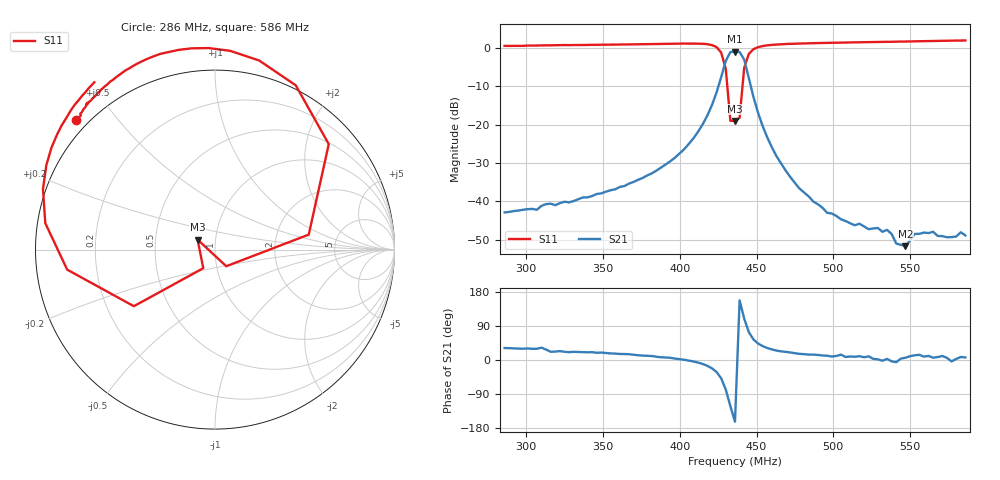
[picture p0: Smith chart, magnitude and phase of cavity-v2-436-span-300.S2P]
!File created by NanoVNA
# Hz S RI R 50
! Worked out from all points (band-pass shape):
!   101 points, 286 MHz to 586 MHz, reference 50 ohm
!   highest |S21| = -1.02 dB at 436 MHz (marker M1); lowest = -51.6 dB at 547 MHz (marker M2)
!   |S21| within 3 dB of the highest: 429.6 MHz to 442.6 MHz (13 MHz wide, 2.98 % of centre)
!   lowest |S11| = -19.0 dB at 436 MHz (marker M3), VSWR 1.25, Z = 40.9 + j4.62 ohm
!   |S11| at or under -10 dB: 431 MHz to 440.9 MHz (9.898 MHz wide, 2.27 % of centre)
!   S12 and S22 are empty: the file has one direction only
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2.86e8  -0.7733 0.7204  0.00613 0.00378  0 0  0 0
3.37e8  -0.6675 0.8558  0.0106 0.00401  0 0  0 0
3.88e8  -0.4569 1.023  0.0276 0.00347  0 0  0 0
4.06e8  -0.2597 1.1  0.0563 -0.00168  0 0  0 0
4.18e8  0.084 1.108  0.1265 -0.0349  0 0  0 0
4.24e8  0.4499 0.9153  0.2226 -0.1381  0 0  0 0
4.27e8  0.6338 0.5877  0.2761 -0.3091  0 0  0 0
4.3e8  0.5224 0.0836  0.1392 -0.6587  0 0  0 0
4.33e8  0.0628 -0.0927  -0.4668 -0.7455  0 0  0 0
4.36e8  -0.097 0.0557  -0.8493 -0.2634  0 0  0 0
4.39e8  -0.0653 -0.1035  -0.8116 0.3378  0 0  0 0
4.42e8  -0.4521 -0.3153  -0.2285 0.663  0 0  0 0
4.45e8  -0.8235 -0.1117  0.1146 0.3862  0 0  0 0
4.48e8  -0.9455 0.1473  0.1336 0.1863  0 0  0 0
4.57e8  -0.9117 0.5661  0.0581 0.0358  0 0  0 0
4.72e8  -0.7805 0.8083  0.0195 0.00708  0 0  0 0
4.87e8  -0.6877 0.9159  0.00967 0.00245  0 0  0 0
5.14e8  -0.5681 1.028  0.00485 0.000727  0 0  0 0
5.38e8  -0.4814 1.093  0.00377 -0.00024  0 0  0 0
5.47e8  -0.4505 1.116  0.00261 0.000274  0 0  0 0
5.53e8  -0.4288 1.131  0.0037 0.000814  0 0  0 0
5.86e8  -0.317 1.202  0.0036 0.000418  0 0  0 0
